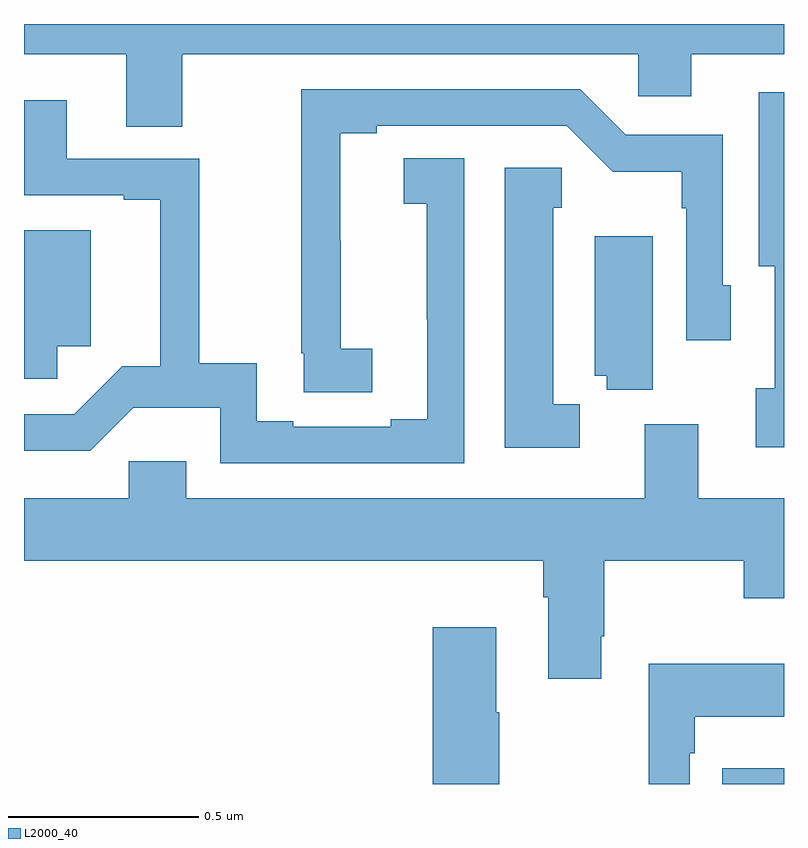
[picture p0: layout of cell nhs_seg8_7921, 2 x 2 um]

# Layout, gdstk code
import gdstk
lib = gdstk.Library(unit=1e-6, precision=1e-09)
def R(c, l, rs):  # rectangles x0, y0, x1, y1
    for r in rs: c.add(gdstk.rectangle(r[:2], r[2:], *l))
def P(c, l, *ps):  # polygons
    for p in ps: c.add(gdstk.Polygon(p, *l))
L2000_40 = (2000, 40)

nhs_seg8_7921 = lib.new_cell('nhs_seg8_7921')
R(nhs_seg8_7921, L2000_40, [(217.837,1127.9,218,1127.941)])
P(nhs_seg8_7921, L2000_40, [(216.417,1129.82),(217.617,1129.82),(217.617,1129.71),(217.756,1129.71),(217.756,1129.82),(218,1129.82),(218,1129.9),(216,1129.9),(216,1129.82),(216.269,1129.82),(216.269,1129.63),(216.417,1129.63)],
  [(216.916,1129.046),(216.834,1129.046),(216.834,1129.329),(216.832,1129.329),(216.832,1129.612),(216.928,1129.612),(216.928,1129.632),(217.428,1129.632),(217.549,1129.511),(217.731,1129.511),(217.731,1129.415),(217.743,1129.415),(217.743,1129.068),(217.86,1129.068),(217.86,1129.212),(217.839,1129.212),(217.839,1129.608),(217.584,1129.608),(217.464,1129.728),(216.73,1129.728),(216.73,1129.033),(216.736,1129.033),(216.736,1128.931),(216.916,1128.931)],
  [(218,1129.72),(217.934,1129.72),(217.934,1129.262),(217.976,1129.262),(217.976,1128.942),(217.926,1128.942),(217.926,1128.786),(218,1128.786)],
  [(217.158,1129.547),(216.999,1129.547),(216.999,1129.427),(217.06,1129.427),(217.06,1129.123),(217.061,1129.123),(217.061,1128.86),(216.965,1128.86),(216.965,1128.84),(216.709,1128.84),(216.709,1128.854),(216.612,1128.854),(216.612,1129.007),(216.461,1129.007),(216.461,1129.545),(216.112,1129.545),(216.112,1129.699),(216,1129.699),(216,1129.449),(216.263,1129.449),(216.263,1129.437),(216.359,1129.437),(216.359,1129),(216.259,1129),(216.132,1128.873),(216,1128.873),(216,1128.777),(216.174,1128.777),(216.287,1128.89),(216.516,1128.89),(216.516,1128.744),(217.158,1128.744)],
  [(217.462,1128.9),(217.393,1128.9),(217.393,1129.416),(217.415,1129.416),(217.415,1129.522),(217.265,1129.522),(217.265,1128.785),(217.462,1128.785)],
  [(216.087,1129.052),(216.175,1129.052),(216.175,1129.357),(216,1129.357),(216,1128.966),(216.087,1128.966)],
  [(217.654,1129.342),(217.502,1129.342),(217.502,1128.974),(217.534,1128.974),(217.534,1128.937),(217.654,1128.937)],
  [(217.519,1128.289),(217.527,1128.289),(217.527,1128.488),(217.894,1128.488),(217.894,1128.389),(218,1128.389),(218,1128.652),(217.774,1128.652),(217.774,1128.847),(217.634,1128.847),(217.634,1128.652),(216.427,1128.652),(216.427,1128.75),(216.276,1128.75),(216.276,1128.652),(216,1128.652),(216,1128.488),(217.367,1128.488),(217.367,1128.392),(217.379,1128.392),(217.379,1128.177),(217.519,1128.177)],
  [(217.251,1128.089),(217.243,1128.089),(217.243,1128.313),(217.076,1128.313),(217.076,1127.9),(217.251,1127.9)],
  [(217.752,1127.981),(217.765,1127.981),(217.765,1128.077),(218,1128.077),(218,1128.217),(217.644,1128.217),(217.644,1127.9),(217.752,1127.9)])

lib.write_gds('nhs_seg8_7921.gds')
